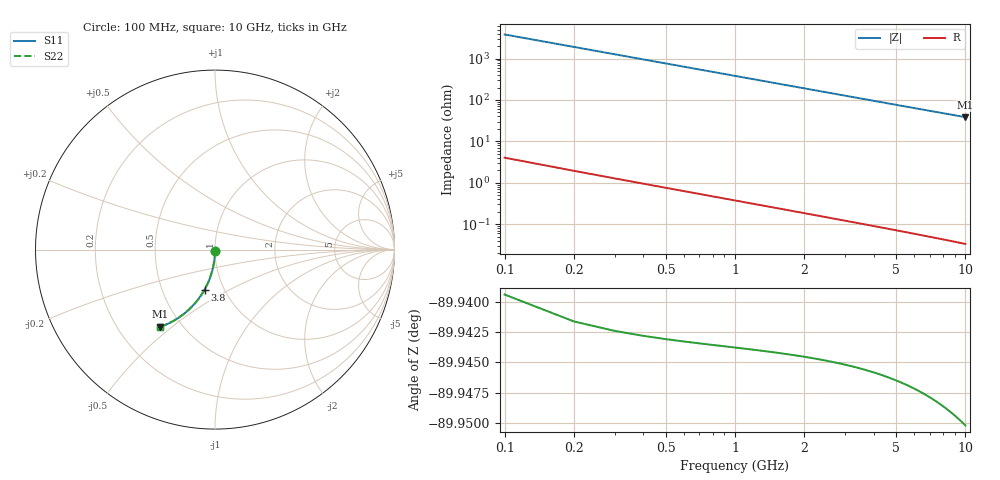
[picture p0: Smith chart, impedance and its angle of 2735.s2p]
# Hz S RI R 50.00
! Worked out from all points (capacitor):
!   100 points, 100 MHz to 10 GHz, reference 50 ohm
!   read as one part in shunt: C = 417 fF near 100 MHz
!   lowest |Z| = 38.5 ohm at 10 GHz (marker M1)
!   S11 on the Smith chart (normalised r, x): 100 MHz: 1.00, -0.01; 3.8 GHz: 0.81, -0.38; 10 GHz: 0.38, -0.46
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1e8  0.000148 -0.00625  0.9998 -0.00684  0.9998 -0.00684  0.000148 -0.00625
2e8  1.48e-05 -0.0125  0.9996 -0.0137  0.9996 -0.0137  1.48e-05 -0.0125
3e8  -0.000204 -0.0187  0.9994 -0.0205  0.9994 -0.0205  -0.000204 -0.0187
4e8  -0.000509 -0.025  0.9991 -0.0273  0.9991 -0.0273  -0.000509 -0.025
5e8  -0.000899 -0.0312  0.9987 -0.0342  0.9987 -0.0342  -0.000899 -0.0312
6e8  -0.00137 -0.0374  0.9982 -0.041  0.9982 -0.041  -0.00137 -0.0374
7e8  -0.00193 -0.0437  0.9977 -0.0478  0.9977 -0.0478  -0.00193 -0.0437
8e8  -0.00258 -0.0499  0.997 -0.0546  0.997 -0.0546  -0.00258 -0.0499
9e8  -0.00331 -0.0561  0.9963 -0.0614  0.9963 -0.0614  -0.00331 -0.0561
1.1e9  -0.00501 -0.0684  0.9946 -0.0749  0.9946 -0.0749  -0.00501 -0.0684
1.4e9  -0.0082 -0.0868  0.9914 -0.095  0.9914 -0.095  -0.0082 -0.0868
1.8e9  -0.0136 -0.1109  0.9859 -0.1215  0.9859 -0.1215  -0.0136 -0.1109
2.1e9  -0.0185 -0.1288  0.9811 -0.1411  0.9811 -0.1411  -0.0185 -0.1288
2.5e9  -0.026 -0.1521  0.9735 -0.1668  0.9735 -0.1668  -0.026 -0.1521
2.9e9  -0.0348 -0.1748  0.9647 -0.1919  0.9647 -0.1919  -0.0348 -0.1748
3.4e9  -0.0472 -0.2023  0.9521 -0.2223  0.9521 -0.2223  -0.0472 -0.2023
3.8e9  -0.0584 -0.2234  0.941 -0.2458  0.941 -0.2458  -0.0584 -0.2234
4.4e9  -0.0768 -0.2534  0.9224 -0.2794  0.9224 -0.2794  -0.0768 -0.2534
5.1e9  -0.1007 -0.286  0.8984 -0.3161  0.8984 -0.3161  -0.1007 -0.286
6.7e9  -0.1625 -0.3491  0.8363 -0.3888  0.8363 -0.3888  -0.1625 -0.3491
8.4e9  -0.2345 -0.3988  0.7638 -0.4486  0.7638 -0.4486  -0.2345 -0.3988
1e10  -0.3038 -0.4301  0.694 -0.4896  0.694 -0.4896  -0.3038 -0.4301
